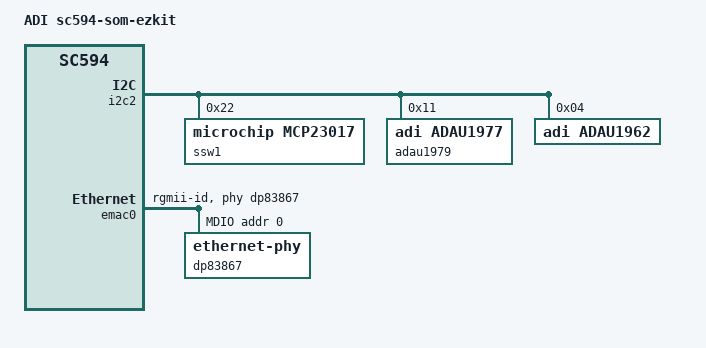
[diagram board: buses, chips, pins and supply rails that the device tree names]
/*
 * Device tree for ADI sc594-som-ezkit board
 *
 * Copyright 2014 - 2020 Analog Devices Inc.
 *
 * Licensed under the GPL-2 or later.
 *
 */

/dts-v1/;

#include "sc594-som.dtsi"

/ {
	model = "ADI sc594-som-ezkit";
	compatible = "adi,sc594-som-ezkit", "adi,sc59x";

	scb {
		sound {
			compatible = "sc5xx,asoc-card";
			adi,cpu-dai = <&i2s4>;
			adi,codec = <&adau1962>, <&adau1979>;
			iram = <&sram1>;
		};
	};
};

&i2c2 {
	ssw1: gpio@0x22 {
		compatible = "microchip,mcp23017";
		gpio-controller;
		#gpio-cells = <2>;
		reg = <0x22>;

		eeprom {
			gpio-hog;
			gpios = <0 0x0>;
			output-low;
			line-name = "eeprom-en";
		};

		pushbutton {
			gpio-hog;
			gpios = <1 0x0>;
			output-high;
			line-name = "pushbutton-en";
		};

		microsd {
			gpio-hog;
			gpios = <2 0x0>;
			output-high;
			line-name = "~microsd-spi";
		};

		adau-reset {
			gpio-hog;
			gpios = <5 0x0>;
			output-high;
			line-name = "adau1962-reset";
		};

		adau1962 {
			gpio-hog;
			gpios = <6 0x0>;
			output-low;
			line-name = "adau1962-en";
		};

		adau1979 {
			gpio-hog;
			gpios = <7 0x0>;
			output-low;
			line-name = "adau1979-en";
		};

		octal {
			gpio-hog;
			gpios = <8 0x0>;
			output-low;
			line-name = "octal-spi-cs-en";
		};

		spdif-dig {
			gpio-hog;
			gpios = <9 0x0>;
			output-high;
			line-name = "~spdif-digital-en";
		};

		spdif-opt {
			gpio-hog;
			gpios = <10 0x0>;
			output-high;
			line-name = "~spdif-optical-en";
		};

		audio-jack {
			gpio-hog;
			gpios = <11 0x0>;
			output-high;
			line-name = "audio-jack-sel";
		};

		mlb {
			gpio-hog;
			gpios = <12 0x0>;
			output-high;
			line-name = "~mlb-en";
		};

		eth1 {
			gpio-hog;
			gpios = <13 0x0>;
			output-low;
			line-name = "~eth1-en";
		};

		eth1-reset {
			gpio-hog;
			gpios = <14 0x0>;
/* USB0 lines are shared with Eth1 so  Eth PHY must be held in reset
   when using the USB */
			output-low;
			line-name = "~eth1-reset";
		};

		gige-reset {
			gpio-hog;
			gpios = <15 0x0>;
			output-high;
			line-name = "~gige-reset";
		};

	};

	adau1979: adau1979@0x11 {
		compatible = "adi,adau1977";
		reg = <0x11>;
	};

	adau1962: adau1962@0x4 {
		compatible = "adi,adau1962";
		reg = <0x4>;
	};

};

&can0 {
	pinctrl-names = "default";
	/*pinctrl-0 = <&can0_default>;*/
	phy-name = "tja1055";
	phy-gpios = <&gpb 8 0>,		/* en PB8 */
		    <&gpb 2 0x1>;	/* stb PB2, GPIO_ACTIVE_LOW */
	status = "disabled";
};

&can1 {
	pinctrl-names = "default";
	/*pinctrl-0 = <&can1_default>;*/
	phy-name = "tja1145";
	phy-spibus = /bits/ 16 <0>;
	phy-spiclk = <1000000>;
	phy-spics = /bits/ 16 <44>;	/* GPIO_PC12 */
	status = "disabled";
};

&emac0 {
	snps,reset-active-low;
	snps,reset-delays-us = <0 200 500>;
	phy-handle = <&dp83867>;
	phy-mode = "rgmii-id";
	pinctrl-names = "default";
	pinctrl-0 = <&eth0_default>;
	status = "okay";
	snps,mtl-rx-config = <&emac0rxconfig>;
	snps,mtl-tx-config = <&emac0txconfig>;

	emac0txconfig: tx-config {
		snps,tx-queues-to-use = <3>;

		queue0 {
			snps,dcb-algorithm;
		};

		queue1 {
			snps,dcb-algorithm;
		};

		queue2 {
			snps,dcb-algorithm;
		};
	};

	emac0rxconfig: rx-config {
		snps,rx-queues-to-use = <1>;

		queue0 {
			snps,dcb-algorithm;
		};

		queue1 {
			snps,dcb-algorithm;
		};

		queue2 {
			snps,dcb-algorithm;
		};
	};

	mdio0 {
		compatible = "snps,dwmac-mdio";
		#address-cells = <1>;
		#size-cells = <0>;
		dp83867: ethernet-phy@0 {
			reg = <0>;
			ti,rx-internal-delay = <DP83867_RGMIIDCTL_2_00_NS>;
			ti,tx-internal-delay = <DP83867_RGMIIDCTL_2_00_NS>;
			ti,fifo-depth = <DP83867_PHYCR_FIFO_DEPTH_8_B_NIB>;
			ti,dp83867-rxctrl-strap-quirk;
		};
	};
};

&emac1 {
	phy-handle = <&dp83848>;
	phy-mode = "rmii";
	pinctrl-names = "default";
	pinctrl-0 = <&eth1_default>;
	status = "disabled";

	mdio1 {
		compatible = "snps,dwmac-mdio";
		#address-cells = <1>;
		#size-cells = <0>;
		dp83848: ethernet-phy@1 {
			reg = <1>;
		};
	};
};

